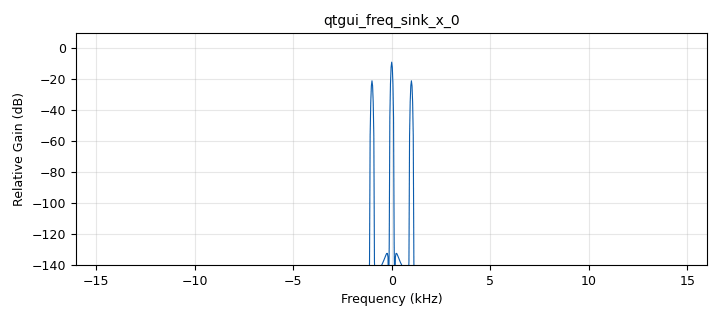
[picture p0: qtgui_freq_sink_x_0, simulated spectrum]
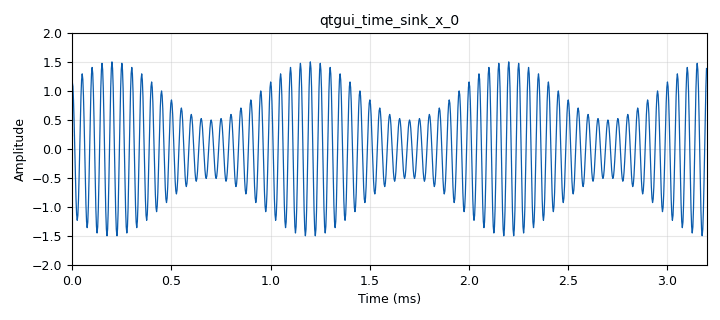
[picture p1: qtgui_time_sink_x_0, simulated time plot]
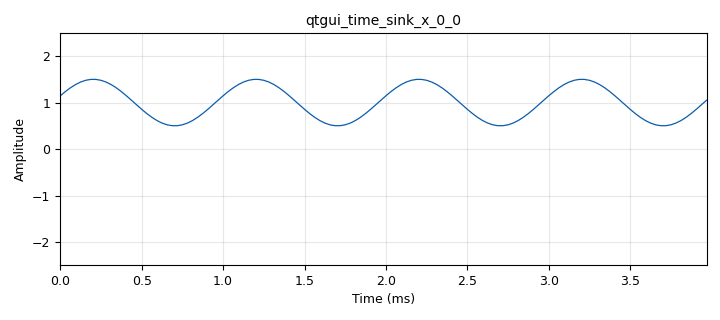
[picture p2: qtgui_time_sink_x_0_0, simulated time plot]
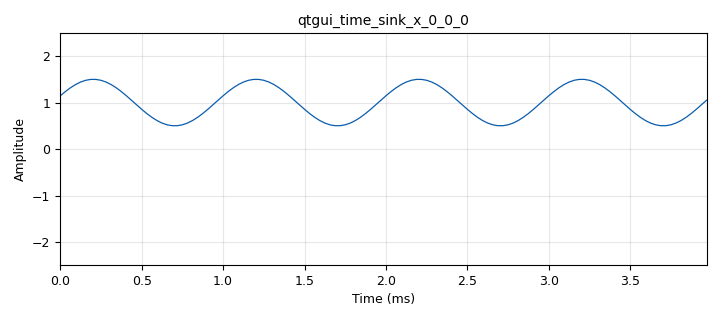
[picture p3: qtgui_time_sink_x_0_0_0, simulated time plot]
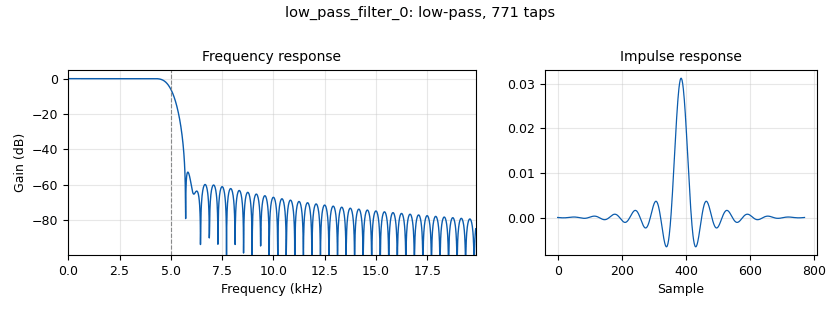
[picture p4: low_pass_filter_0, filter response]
options:
  parameters:
    author: Marcelo R. Doallo
    generate_options: qt_gui
    id: am
    output_language: python
    title: AM & DSB-SC
  states: {}

blocks:
- name: amplitud
  id: variable_qtgui_range
  parameters:
    gui_hint: 0,2,1,2
    label: Amplitud
    start: '0'
    step: '0.1'
    stop: '1.3'
    value: '0.5'
  states: {}
- name: frec
  id: variable_qtgui_range
  parameters:
    gui_hint: 0,0,1,2
    label: Frecuencia
    start: '100'
    step: '300'
    stop: '3000'
    value: '1000'
  states: {}
- name: portadora
  id: variable_qtgui_chooser
  parameters:
    gui_hint: 0,4,1,1
    label0: AM
    label1: DSB-SC
    num_opts: '2'
    option0: '1'
    option1: '0'
    type: int
    value: '1'
  states: {}
- name: samp_rate
  id: variable
  parameters:
    value: '320000'
  states: {}
- name: analog_const_source_x_0
  id: analog_const_source_x
  parameters:
    const: portadora
    type: float
  states: {}
- name: analog_sig_source_x_0
  id: analog_sig_source_x
  parameters:
    amp: amplitud
    freq: frec
    offset: '0'
    phase: '0'
    samp_rate: samp_rate
    type: float
    waveform: analog.GR_COS_WAVE
  states: {}
- name: analog_sig_source_x_0_0
  id: analog_sig_source_x
  parameters:
    amp: '1'
    comment: Carrier phasor (Complex)
    freq: '20000'
    offset: '0'
    phase: '0'
    samp_rate: samp_rate
    type: complex
    waveform: analog.GR_COS_WAVE
  states: {}
- name: blocks_add_xx_0
  id: blocks_add_xx
  parameters:
    comment: Real part
    type: float
  states: {}
- name: blocks_complex_to_mag_0
  id: blocks_complex_to_mag
  parameters:
    comment: As an Envelope detector
  states: {}
- name: blocks_complex_to_real_0
  id: blocks_complex_to_real
  parameters: {}
  states: {}
- name: blocks_complex_to_real_1
  id: blocks_complex_to_real
  parameters:
    comment: As a product detector
  states: {}
- name: blocks_float_to_complex_0
  id: blocks_float_to_complex
  parameters:
    comment: Complex envelope
  states: {}
- name: blocks_multiply_xx_0
  id: blocks_multiply_xx
  parameters:
    type: complex
  states: {}
- name: blocks_null_source_0
  id: blocks_null_source
  parameters:
    comment: Imaginary part
    type: float
  states: {}
- name: blocks_throttle2_0
  id: blocks_throttle2
  parameters:
    samples_per_second: samp_rate
    type: float
  states: {}
- name: low_pass_filter_0
  id: low_pass_filter
  parameters:
    comment: IF Filter
    cutoff_freq: '5000'
    decim: '10'
    gain: '1'
    samp_rate: samp_rate
    type: fir_filter_ccf
    width: '1000'
    win: window.WIN_HAMMING
  states: {}
- name: qtgui_freq_sink_x_0
  id: qtgui_freq_sink_x
  parameters:
    bw: samp_rate/10
    fc: '0'
    fftsize: '1024'
    gui_hint: qtgui_tab_widget@1
    type: complex
  states: {}
- name: qtgui_tab_widget
  id: qtgui_tab_widget
  parameters:
    gui_hint: 1,0,5,5
    label0: Tiempo
    label1: Envolvente compleja
    label2: Detector de envolvente
    label3: Detector de producto
    num_tabs: '4'
  states: {}
- name: qtgui_time_sink_x_0
  id: qtgui_time_sink_x
  parameters:
    ctrlpanel: 'True'
    gui_hint: qtgui_tab_widget@0
    size: '1024'
    srate: samp_rate
    type: float
    ymax: '2'
    ymin: '-2'
  states: {}
- name: qtgui_time_sink_x_0_0
  id: qtgui_time_sink_x
  parameters:
    ctrlpanel: 'True'
    gui_hint: qtgui_tab_widget@2
    size: '128'
    srate: samp_rate/10
    type: float
    ymax: '2.5'
    ymin: '-2.5'
  states: {}
- name: qtgui_time_sink_x_0_0_0
  id: qtgui_time_sink_x
  parameters:
    ctrlpanel: 'True'
    gui_hint: qtgui_tab_widget@3
    size: '128'
    srate: samp_rate/10
    type: float
    ymax: '2.5'
    ymin: '-2.5'
  states: {}

connections:
- [analog_const_source_x_0, '0', blocks_add_xx_0, '1']
- [analog_sig_source_x_0, '0', blocks_add_xx_0, '0']
- [analog_sig_source_x_0_0, '0', blocks_multiply_xx_0, '1']
- [blocks_add_xx_0, '0', blocks_float_to_complex_0, '0']
- [blocks_complex_to_mag_0, '0', qtgui_time_sink_x_0_0, '0']
- [blocks_complex_to_real_0, '0', blocks_throttle2_0, '0']
- [blocks_complex_to_real_1, '0', qtgui_time_sink_x_0_0_0, '0']
- [blocks_float_to_complex_0, '0', blocks_multiply_xx_0, '0']
- [blocks_float_to_complex_0, '0', low_pass_filter_0, '0']
- [blocks_multiply_xx_0, '0', blocks_complex_to_real_0, '0']
- [blocks_null_source_0, '0', blocks_float_to_complex_0, '1']
- [blocks_throttle2_0, '0', qtgui_time_sink_x_0, '0']
- [low_pass_filter_0, '0', blocks_complex_to_mag_0, '0']
- [low_pass_filter_0, '0', blocks_complex_to_real_1, '0']
- [low_pass_filter_0, '0', qtgui_freq_sink_x_0, '0']

metadata:
  file_format: 1
  grc_version: 3.10.12.0
